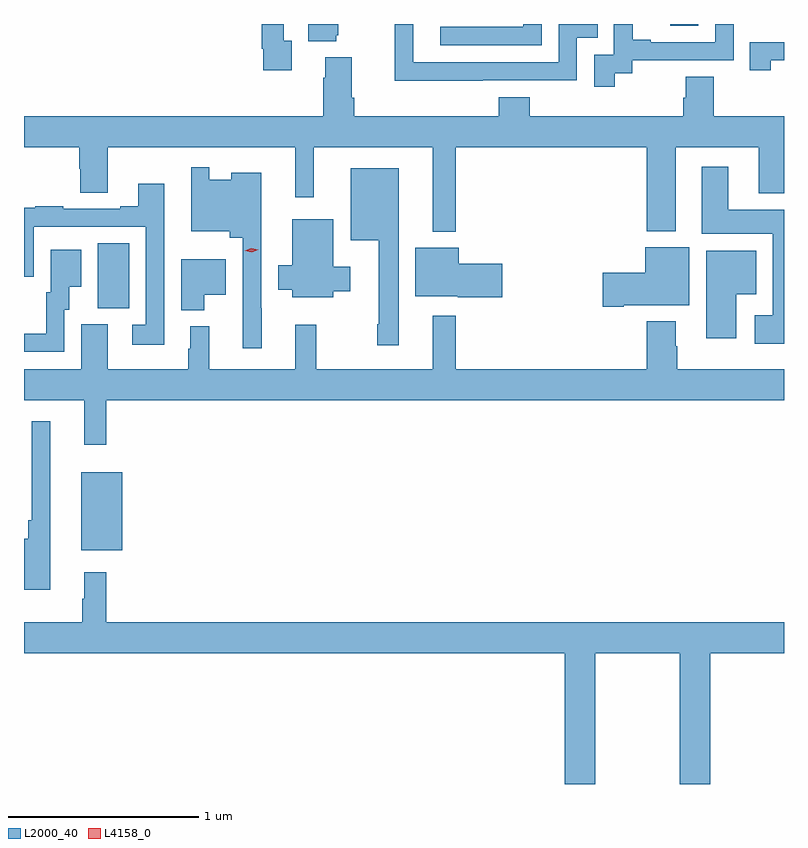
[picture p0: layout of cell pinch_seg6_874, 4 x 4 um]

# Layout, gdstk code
import gdstk
lib = gdstk.Library(unit=1e-6, precision=1e-09)
def R(c, l, rs):  # rectangles x0, y0, x1, y1
    for r in rs: c.add(gdstk.rectangle(r[:2], r[2:], *l))
def P(c, l, *ps):  # polygons
    for p in ps: c.add(gdstk.Polygon(p, *l))
L2000_40 = (2000, 40)
L4158_0 = (4158, 0)

pinch_seg6_874 = lib.new_cell('pinch_seg6_874')
R(pinch_seg6_874, L2000_40, [(244.085,930.563,244.3,930.973), (244.172,931.837,244.336,932.18), (247.185,933.324,247.332,933.333)])
P(pinch_seg6_874, L2000_40, [(245.191,933.246),(245.151,933.246),(245.151,933.333),(245.035,933.333),(245.035,933.202),(245.043,933.202),(245.043,933.09),(245.191,933.09)],
  [(245.426,933.273),(245.437,933.273),(245.437,933.333),(245.279,933.333),(245.279,933.242),(245.426,933.242)],
  [(246.197,933.036),(246.693,933.036),(246.693,933.261),(246.803,933.261),(246.803,933.333),(246.597,933.333),(246.597,933.132),(245.832,933.132),(245.832,933.333),(245.734,933.333),(245.734,933.035),(246.197,933.035)],
  [(246.892,933.073),(246.984,933.073),(246.984,933.141),(247.518,933.141),(247.518,933.333),(247.422,933.333),(247.422,933.237),(247.081,933.237),(247.081,933.25),(246.986,933.25),(246.986,933.333),(246.888,933.333),(246.888,933.171),(246.783,933.171),(246.783,933.003),(246.892,933.003)],
  [(246.507,933.333),(246.411,933.333),(246.411,933.318),(245.973,933.318),(245.973,933.222),(246.507,933.222)],
  [(247.714,933.141),(247.783,933.141),(247.783,933.237),(247.603,933.237),(247.603,933.09),(247.714,933.09)],
  [(247.061,932.243),(247.213,932.243),(247.213,932.684),(247.649,932.684),(247.649,932.441),(247.783,932.441),(247.783,932.848),(247.413,932.848),(247.413,933.056),(247.265,933.056),(247.265,932.946),(247.253,932.946),(247.253,932.848),(246.446,932.848),(246.446,932.947),(246.281,932.947),(246.281,932.848),(245.522,932.848),(245.522,932.944),(245.509,932.944),(245.509,933.157),(245.369,933.157),(245.369,933.05),(245.357,933.05),(245.357,932.848),(243.783,932.848),(243.783,932.684),(244.073,932.684),(244.073,932.571),(244.078,932.571),(244.078,932.446),(244.225,932.446),(244.225,932.684),(245.21,932.684),(245.21,932.421),(245.309,932.421),(245.309,932.684),(245.933,932.684),(245.933,932.24),(246.055,932.24),(246.055,932.684),(247.061,932.684)],
  [(247.783,932.356),(247.489,932.356),(247.489,932.581),(247.349,932.581),(247.349,932.228),(247.724,932.228),(247.724,931.801),(247.629,931.801),(247.629,931.649),(247.783,931.649)],
  [(245.033,931.838),(245.031,931.838),(245.031,932.211),(245.032,932.211),(245.032,932.551),(244.874,932.551),(244.874,932.512),(244.758,932.512),(244.758,932.578),(244.662,932.578),(244.662,932.243),(244.867,932.243),(244.867,932.207),(244.935,932.207),(244.935,931.626),(245.033,931.626)],
  [(245.755,932.575),(245.504,932.575),(245.504,932.195),(245.651,932.195),(245.651,931.753),(245.641,931.753),(245.641,931.641),(245.755,931.641)],
  [(244.521,932.268),(244.522,932.268),(244.522,932.491),(244.385,932.491),(244.385,932.374),(244.289,932.374),(244.289,932.361),(243.989,932.361),(243.989,932.374),(243.841,932.374),(243.841,932.367),(243.783,932.367),(243.783,932.004),(243.834,932.004),(243.834,932.265),(244.425,932.265),(244.425,931.749),(244.353,931.749),(244.353,931.644),(244.521,931.644)],
  [(245.41,931.927),(245.5,931.927),(245.5,932.056),(245.41,932.056),(245.41,932.305),(245.195,932.305),(245.195,932.064),(245.12,932.064),(245.12,931.934),(245.195,931.934),(245.195,931.895),(245.41,931.895)],
  [(246.94,931.853),(247.285,931.853),(247.285,932.158),(247.052,932.158),(247.052,932.024),(246.828,932.024),(246.828,931.846),(246.94,931.846)],
  [(246.301,932.072),(246.07,932.072),(246.07,932.155),(245.843,932.155),(245.843,931.901),(246.066,931.901),(246.066,931.894),(246.301,931.894)],
  [(243.996,931.83),(244.021,931.83),(244.021,931.949),(244.084,931.949),(244.084,932.146),(243.923,932.146),(243.923,931.92),(243.899,931.92),(243.899,931.704),(243.783,931.704),(243.783,931.608),(243.996,931.608)],
  [(247.531,931.91),(247.636,931.91),(247.636,932.14),(247.373,932.14),(247.373,931.68),(247.531,931.68)],
  [(244.732,931.907),(244.846,931.907),(244.846,932.095),(244.61,932.095),(244.61,931.826),(244.732,931.826)],
  [(244.217,931.352),(247.783,931.352),(247.783,931.516),(247.221,931.516),(247.221,931.637),(247.213,931.637),(247.213,931.768),(247.061,931.768),(247.061,931.516),(246.055,931.516),(246.055,931.798),(245.933,931.798),(245.933,931.516),(245.32,931.516),(245.32,931.75),(245.21,931.75),(245.21,931.516),(244.757,931.516),(244.757,931.741),(244.658,931.741),(244.658,931.623),(244.647,931.623),(244.647,931.516),(244.225,931.516),(244.225,931.752),(244.085,931.752),(244.085,931.516),(243.783,931.516),(243.783,931.352),(244.1,931.352),(244.1,931.119),(244.217,931.119)],
  [(243.922,931.243),(243.825,931.243),(243.825,930.721),(243.805,930.721),(243.805,930.625),(243.783,930.625),(243.783,930.356),(243.922,930.356)],
  [(246.789,930.02),(247.234,930.02),(247.234,929.333),(247.394,929.333),(247.394,930.02),(247.783,930.02),(247.783,930.184),(244.217,930.184),(244.217,930.448),(244.1,930.448),(244.1,930.308),(244.089,930.308),(244.089,930.184),(243.783,930.184),(243.783,930.02),(246.629,930.02),(246.629,929.333),(246.789,929.333)])
P(pinch_seg6_874, L4158_0, [(244.982,932.132),(244.946,932.139),(244.946,932.139),(244.946,932.14),(244.98,932.152),(245.016,932.145),(245.016,932.145),(245.016,932.145)])

lib.write_gds('pinch_seg6_874.gds')
